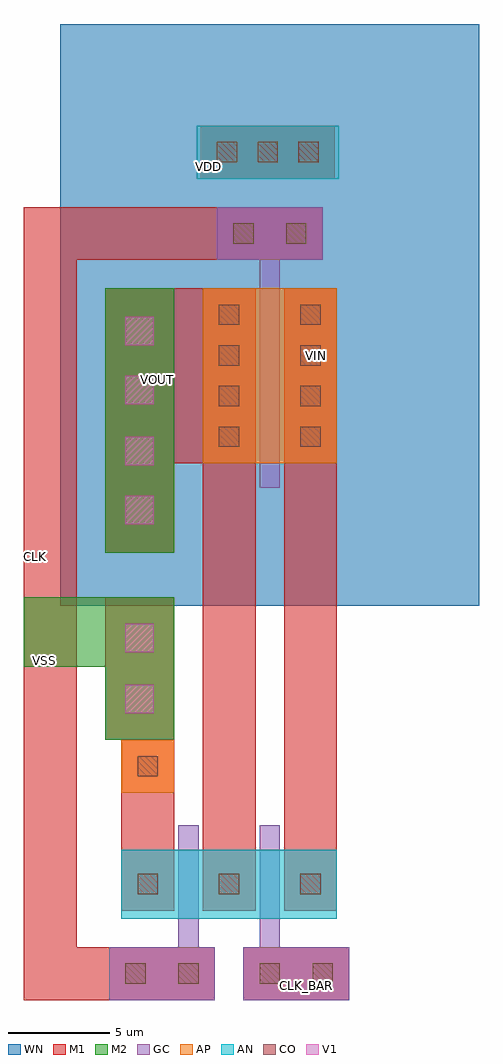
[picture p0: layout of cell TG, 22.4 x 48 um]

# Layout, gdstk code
import gdstk
lib = gdstk.Library(unit=1e-6, precision=1e-07)
def R(c, l, rs):  # rectangles x0, y0, x1, y1
    for r in rs: c.add(gdstk.rectangle(r[:2], r[2:], *l))
def A(c, l, x, y, w, h, nx, ny, dx, dy):  # array of equal rectangles
    R(c, l, [(x+i*dx, y+j*dy, x+i*dx+w, y+j*dy+h) for i in range(nx) for j in range(ny)])
AP = (3, 1)
AN = (3, 2)
GC = (8, 1)
CO = (11, 0)
M1 = (13, 0)
V1 = (19, 0)
M2 = (20, 0)
WN = (140, 0)

fet_p = lib.new_cell('fet_p')
R(fet_p, AP, [(-3.3,-4.3,3.3,4.3)])
A(fet_p, CO, -2.5, -3.5, 1, 1, 1, 4, 0, 2)
A(fet_p, CO, 1.5, -3.5, 1, 1, 1, 4, 0, 2)
R(fet_p, M1, [(-3.3,-4.3,-0.7,4.3), (0.7,-4.3,3.3,4.3)])
fet_p.add(gdstk.FlexPath([(0,-5.5),(0,5.5)], 1, ends="flush", simple_path=True, layer=8, datatype=1))  # GC

fet_n = lib.new_cell('fet_n')
R(fet_n, AN, [(-5.3,-1.7,5.3,1.7)])
A(fet_n, CO, -4.5, -0.5, 1, 1, 3, 1, 4, 0)
A(fet_n, M1, -5.3, -1.3, 2.6, 2.6, 3, 1, 4, 0)
fet_n.add(gdstk.FlexPath([(2,-2.9),(2,2.9)], 1, ends="flush", simple_path=True, layer=8, datatype=1))  # GC
fet_n.add(gdstk.FlexPath([(-2,-2.9),(-2,2.9)], 1, ends="flush", simple_path=True, layer=8, datatype=1))  # GC

cont_g = lib.new_cell('cont_g')
R(cont_g, GC, [(-1.3,-1.3,1.3,1.3)])
R(cont_g, CO, [(-0.5,-0.5,0.5,0.5)])
R(cont_g, M1, [(-1.3,-1.3,1.3,1.3)])

cont_p = lib.new_cell('cont_p')
R(cont_p, AP, [(-1.3,-1.3,1.3,1.3)])
R(cont_p, CO, [(-0.5,-0.5,0.5,0.5)])
R(cont_p, M1, [(-1.3,-1.3,1.3,1.3)])

cont_n = lib.new_cell('cont_n')
R(cont_n, AN, [(-3.5,-1.3,3.5,1.3)])
A(cont_n, CO, -2.5, -0.5, 1, 1, 3, 1, 2, 0)
R(cont_n, M1, [(-3.3,-1.3,3.3,1.3)])

via_1 = lib.new_cell('via_1')
R(via_1, M1, [(-1.7,-3.5,1.7,3.5)])
R(via_1, V1, [(-0.7,-2.2,0.7,-0.8), (-0.7,0.8,0.7,2.2)])
R(via_1, M2, [(-1.7,-3.5,1.7,3.5)])

via_1_1 = lib.new_cell('via_1$1')
R(via_1_1, M1, [(-1.7,-6.5,1.7,6.5)])
R(via_1_1, V1, [(-0.7,-5.1,0.7,-3.7), (-0.7,-2.2,0.7,-0.8), (-0.7,0.8,0.7,2.2), (-0.7,3.7,0.7,5.1)])
R(via_1_1, M2, [(-1.7,-6.5,1.7,6.5)])

c_tg = lib.new_cell('TG')
R(c_tg, GC, [(-4.3,-9.7,-3.3,-9.5), (-0.3,-9.7,0.7,-9.5), (-0.3,23.9,0.7,24.1)])
R(c_tg, M1, [(-7.9,14.1,-0.5,22.7)])
R(c_tg, WN, [(-10.1,7.1,10.5,35.7)])
c_tg.add(gdstk.FlexPath([(2.2,14.1),(2.2,-5.3)], 2.6, ends="flush", simple_path=True, layer=13, datatype=0))  # M1
c_tg.add(gdstk.FlexPath([(-1.8,14.1),(-1.8,-5.3)], 2.6, ends="flush", simple_path=True, layer=13, datatype=0))  # M1
c_tg.add(gdstk.FlexPath([(2.8,25.4),(-10.6,25.4),(-10.6,-11),(-2.5,-11)], 2.6, ends="flush", simple_path=True, layer=13, datatype=0))  # M1
c_tg.add(gdstk.FlexPath([(-5.8,-7.8),(-5.8,-2.1)], 2.6, ends="flush", simple_path=True, layer=13, datatype=0))  # M1
c_tg.add(gdstk.FlexPath([(-4.5,5.8),(-11.9,5.8)], 3.4, ends="flush", simple_path=True, layer=20, datatype=0))  # M2
c_tg.add(gdstk.Reference(fet_p, (0.2,18.4)))
c_tg.add(gdstk.Reference(fet_n, (-1.8,-6.6)))
c_tg.add(gdstk.Reference(cont_g, (-1.1,25.4)))
c_tg.add(gdstk.Reference(cont_g, (1.5,25.4)))
c_tg.add(gdstk.Reference(cont_g, (-3.8,-11)))
c_tg.add(gdstk.Reference(cont_g, (0.2,-11)))
c_tg.add(gdstk.Reference(cont_g, (-6.4,-11)))
c_tg.add(gdstk.Reference(cont_g, (2.8,-11)))
c_tg.add(gdstk.Reference(cont_p, (-5.8,-0.8)))
c_tg.add(gdstk.Reference(cont_n, (0.1,29.4)))
c_tg.add(gdstk.Reference(via_1, (-6.2,4)))
c_tg.add(gdstk.Reference(via_1_1, (-6.2,16.2)))
c_tg.add(gdstk.Label('VOUT', (-5.3,18.2), layer=49, texttype=0))
c_tg.add(gdstk.Label('VSS', (-10.9,4.4), layer=49, texttype=0))
c_tg.add(gdstk.Label('VIN', (2.5,19.4), layer=48, texttype=0))
c_tg.add(gdstk.Label('CLK', (-11.3,9.5), layer=48, texttype=0))
c_tg.add(gdstk.Label('VDD', (-2.8,28.7), layer=48, texttype=0))
c_tg.add(gdstk.Label('CLK_BAR', (2,-11.6), layer=48, texttype=0))

lib.write_gds('TG.gds')
